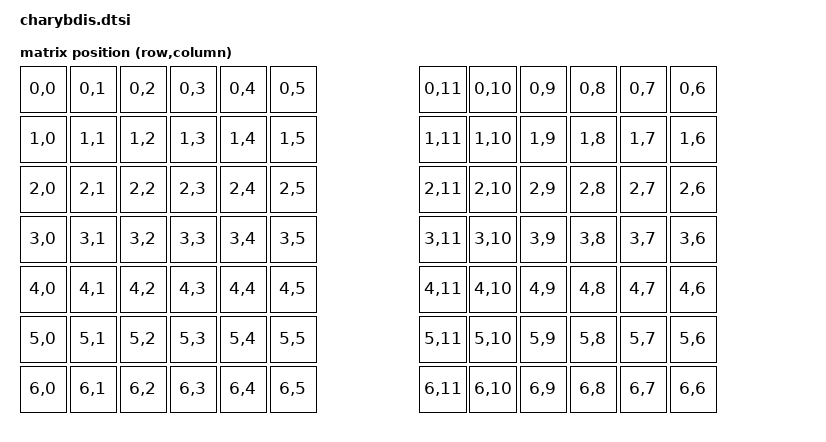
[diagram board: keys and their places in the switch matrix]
#include <dt-bindings/zmk/matrix_transform.h>
#include <dt-bindings/led/led.h>
#include "charybdis-layouts.dtsi"

/ {
    // chosen {
    //     zmk,kscan = &kscan0;
    //     zmk,matrix_transform = &default_transform;
    // };
    chosen {
        zmk,kscan = &kscan0;
        zmk,physical-layout = &charybdis_physical_layout;
        zmk,underglow = &led_strip;
    };

    vbatt: vbatt {
	compatible = "zmk,battery-nrf-vddh";
    };


    default_transform: keymap_transform_0 {
        compatible = "zmk,matrix-transform";
        columns = <12>;
        rows = <7>;

        map = <
			RC(0,0) RC(0,1) RC(0,2) RC(0,3) RC(0,4) RC(0,5)                   RC(0,11) RC(0,10) RC(0,9) RC(0,8) RC(0,7) RC(0,6)
			RC(1,0) RC(1,1) RC(1,2) RC(1,3) RC(1,4) RC(1,5)                   RC(1,11) RC(1,10) RC(1,9) RC(1,8) RC(1,7) RC(1,6)
			RC(2,0) RC(2,1) RC(2,2) RC(2,3) RC(2,4) RC(2,5)                   RC(2,11) RC(2,10) RC(2,9) RC(2,8) RC(2,7) RC(2,6)
			RC(3,0) RC(3,1) RC(3,2) RC(3,3) RC(3,4) RC(3,5)                   RC(3,11) RC(3,10) RC(3,9) RC(3,8) RC(3,7) RC(3,6)
			RC(4,0) RC(4,1) RC(4,2) RC(4,3) RC(4,4) RC(4,5)                   RC(4,11) RC(4,10) RC(4,9) RC(4,8) RC(4,7) RC(4,6)
			RC(5,0) RC(5,1) RC(5,2) RC(5,3) RC(5,4) RC(5,5)                   RC(5,11) RC(5,10) RC(5,9) RC(5,8) RC(5,7) RC(5,6)
			RC(6,0) RC(6,1) RC(6,2) RC(6,3) RC(6,4) RC(6,5)                   RC(6,11) RC(6,10) RC(6,9) RC(6,8) RC(6,7) RC(6,6)
        >;
    };


    kscan0: kscan {
        wakeup-source;
        diode-direction = "row2col";
    };
};

//RGB bus

&pinctrl {
    spi3_default: spi3_default {
        group1 {
            psels = <NRF_PSEL(SPIM_MOSI, 0, 10)>;
        };
    };

    spi3_sleep: spi3_sleep {
        group1 {
            psels = <NRF_PSEL(SPIM_MOSI, 0, 10)>;
            low-power-enable;
        };
    };
};

&spi3 {
    compatible = "nordic,nrf-spim";
    status = "okay";

    pinctrl-0 = <&spi3_default>;
    pinctrl-1 = <&spi3_sleep>;
    pinctrl-names = "default", "sleep";

    led_strip: ws2812@0 {
        compatible = "worldsemi,ws2812-spi";

        /* SPI */
        reg = <0>; /* ignored, but necessary for SPI bindings */
        spi-max-frequency = <4000000>;

        /* WS2812 */
        chain-length = <21>; /* number of LEDs */
        spi-one-frame = <0x70>;
        spi-zero-frame = <0x40>;
        color-mapping = <LED_COLOR_ID_GREEN
                         LED_COLOR_ID_RED
                         LED_COLOR_ID_BLUE>;
    };
};
